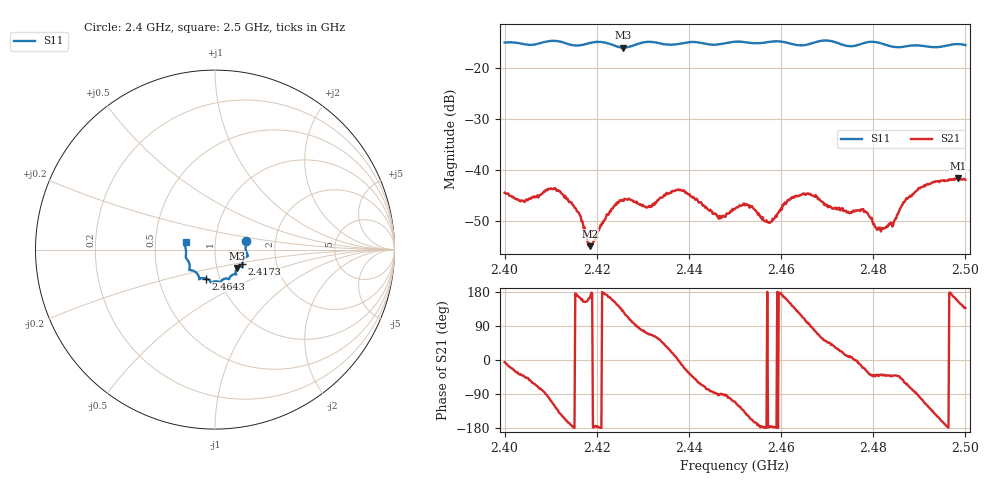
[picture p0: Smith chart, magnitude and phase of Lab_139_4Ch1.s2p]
# Hz S RI R 50
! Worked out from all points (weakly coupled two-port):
!   601 points, 2.4 GHz to 2.5 GHz, reference 50 ohm
!   highest |S21| = -41.60 dB at 2.4985 GHz (marker M1); lowest = -54.9 dB at 2.4185 GHz (marker M2)
!   lowest |S11| = -15.9 dB at 2.4257 GHz (marker M3), VSWR 1.38, Z = 62.5 - j13.1 ohm
!   |S11| at or under -10 dB: start of sweep to end of sweep
!   S12 and S22 are empty: the file has one direction only
!   S11 on the Smith chart (normalised r, x): 2.4 GHz: 1.41, +0.14; 2.4173 GHz: 1.34, -0.22; 2.4643 GHz: 0.86, -0.29; 2.5 GHz: 0.72, +0.06
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2.4e9  0.1727 0.0489  0.00598 -0.000572  0 0  0 0
2.404e9  0.172 0.0252  0.00373 -0.00328  0 0  0 0
2.411167e9  0.1828 -0.0358  -0.00387 -0.00518  0 0  0 0
2.416667e9  0.1527 -0.0738  -0.00292 0.00114  0 0  0 0
2.417333e9  0.152 -0.0812  -0.00247 0.00121  0 0  0 0
2.4185e9  0.1524 -0.0917  -0.00172 0.000513  0 0  0 0
2.425667e9  0.123 -0.1021  -0.00322 0.00383  0 0  0 0
2.431167e9  0.1189 -0.1387  0.00158 0.00403  0 0  0 0
2.433333e9  0.113 -0.1373  0.00286 0.00417  0 0  0 0
2.437833e9  0.0832 -0.153  0.00634 -0.000276  0 0  0 0
2.4465e9  0.0442 -0.1665  -4.71e-05 -0.00333  0 0  0 0
2.45e9  0.0288 -0.1808  -0.00147 -0.0039  0 0  0 0
2.4525e9  0.02 -0.1791  -0.0038 -0.00268  0 0  0 0
2.4575e9  -0.0166 -0.1815  -0.00302 -0.00027  0 0  0 0
2.464333e9  -0.0498 -0.161  -0.0027 0.005  0 0  0 0
2.466667e9  -0.0758 -0.1595  0.000378 0.00564  0 0  0 0
2.477833e9  -0.1341 -0.1153  0.0039 -0.00143  0 0  0 0
2.481167e9  -0.1429 -0.108  0.00202 -0.00183  0 0  0 0
2.483333e9  -0.141 -0.0899  0.00223 -0.00191  0 0  0 0
2.490167e9  -0.1629 -0.0396  -0.00105 -0.00654  0 0  0 0
2.4985e9  -0.17 0.0351  -0.00742 0.00375  0 0  0 0
2.5e9  -0.164 0.0432  -0.00592 0.00548  0 0  0 0
